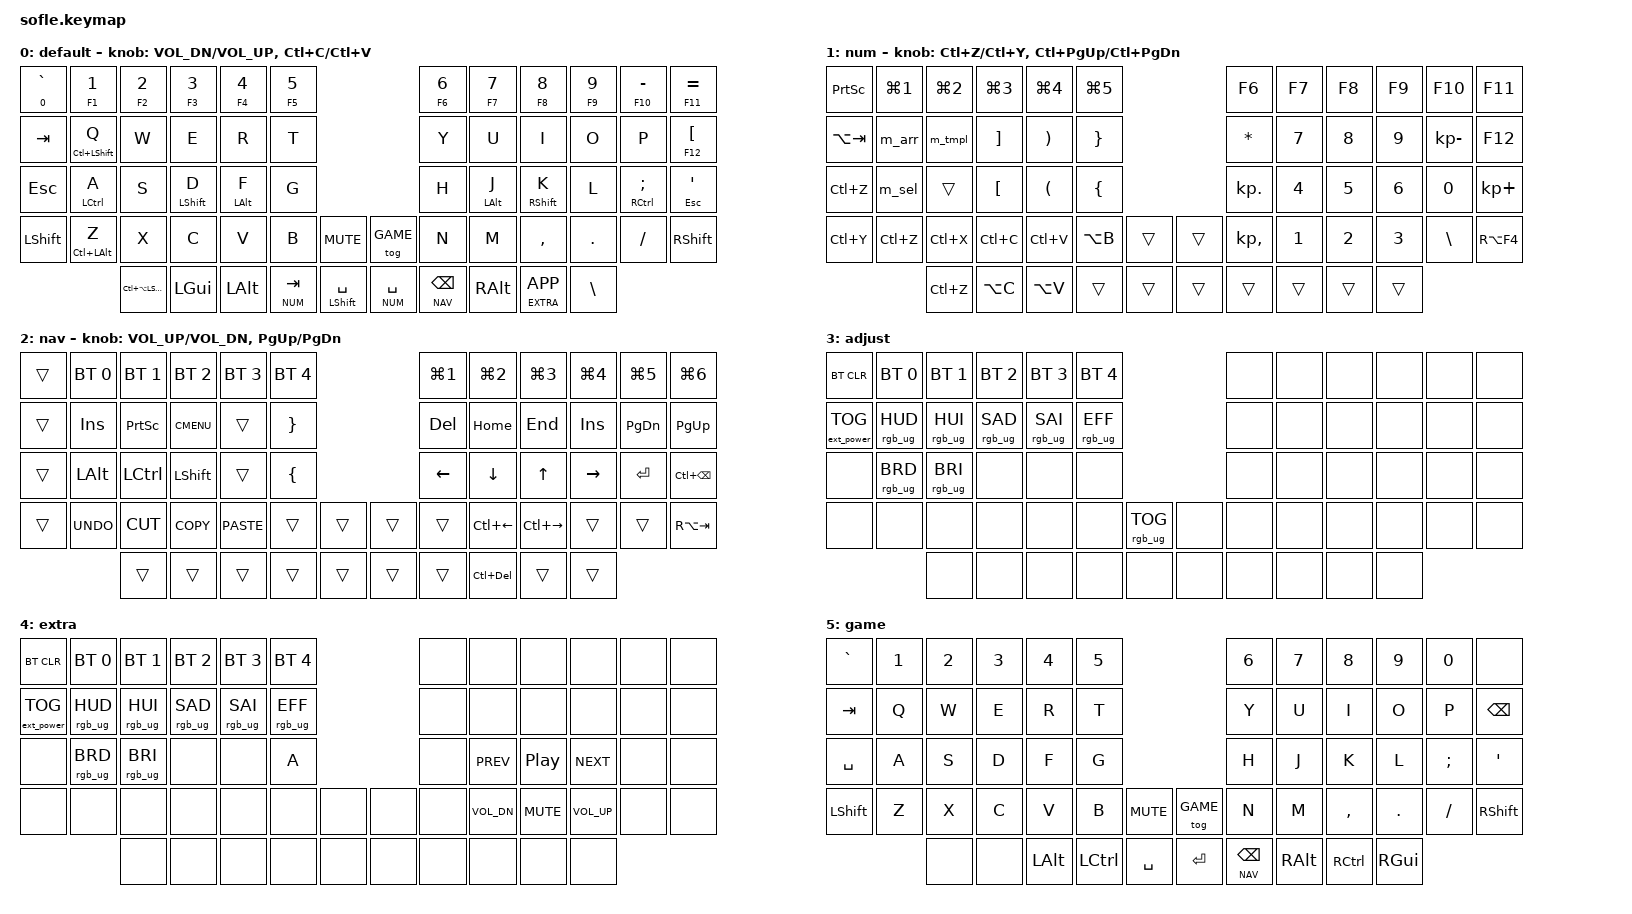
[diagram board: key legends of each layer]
/*
 * Copyright (c) 2020 The ZMK Contributors
 *
 * SPDX-License-Identifier: MIT
 */

#include <behaviors.dtsi>
#include <dt-bindings/zmk/keys.h>
#include <dt-bindings/zmk/bt.h>
#include <dt-bindings/zmk/rgb.h>
#include <dt-bindings/zmk/ext_power.h>
#include <dt-bindings/zmk/mouse.h>

#define DEFAULT 0
#define NUM 1
#define NAV 2
#define ADJUST 3
#define EXTRA 4
#define GAME 5

/ {

   // Activate ADJUST layer by pressing num and nav
    conditional_layers {
        compatible = "zmk,conditional-layers";
        adjust_layer {
            if-layers = <NUM NAV>;
            then-layer = <ADJUST>;
        };
    };

    macros {
        m_arr: m_arr {
            compatible = "zmk,behavior-macro";
            #binding-cells = <0>;
            bindings
                = <&macro_tap &kp EQUAL>,
                <&macro_press &kp LSHFT>,
                <&macro_tap &kp DOT>,
                <&macro_release &kp LSHFT>
                ;
        };

        m_tmpl: m_tmpl {
            compatible = "zmk,behavior-macro";
            #binding-cells = <0>;
            bindings
                = <&kp DOLLAR &kp LBRC &kp RBRC &kp LEFT>
                ;
        };

        m_sel: m_sel {
            compatible = "zmk,behavior-macro";
            #binding-cells = <0>;
            bindings
                = <&macro_press &kp LCTRL>,
                <&macro_tap &kp LEFT>,
                <&macro_press &kp LSHFT>,
                <&macro_tap &kp RIGHT>,
                <&macro_release &kp LSHFT>,
                <&macro_release &kp LCTRL>
                ;
        };
    };

    behaviors {
        hm: homerow_mods {
            compatible = "zmk,behavior-hold-tap";
            #binding-cells = <2>;
            tapping-term-ms = <250>;
            quick-tap-ms = <0>;
            flavor = "tap-preferred";
            require-prior-idle-ms = <150>;
            bindings = <&kp>, <&kp>;
        };

        fm: functional_mods {
            compatible = "zmk,behavior-hold-tap";
            #binding-cells = <2>;
            tapping-term-ms = <200>;
            quick-tap-ms = <0>;
            bindings = <&kp>, <&kp>;
        };
    };

    combos {
        compatible = "zmk,combos";
        combo_esc {
            timeout-ms = <50>;
            key-positions = <25 28>;
            bindings = <&kp LC(Z)>;
        };
    };

    keymap {
        compatible = "zmk,keymap";

        default_layer {
            display-name = "default";
            bindings = <
// --------------------------------------------------------------------------------------------------------------------------------------------------------------------------------------------
// |   `        |    1         |  2        |  3        |  4        |  5          |                                 |  6           |  7        |  8             |  9        |   0           |              |
    &hm N0 GRAVE     &fm F1 N1    &fm F2 N2   &fm F3 N3   &fm F4 N4   &fm F5 N5                                       &fm F6 N6      &fm F7 N7   &fm F8 N8        &fm F9 N9  &fm F10 MINUS   &fm F11 EQUAL
// |  ESC       |    Q         |  W        |  E        |  R        |  T          |                                 |  Y           |  U        |  I             |  O        |   P           | BKSPC        |
    &kp TAB      &hm LC(LSHFT) Q  &kp W       &kp E       &kp R       &kp T                                           &kp Y          &kp U       &kp I            &kp O      &kp P           &fm F12 LBKT
// |  TAB       |    A         |  S        |  D        |  F        |  G          |                                 |  H           |  J        |  K             |  L        |   ;           |   '          |
    &kp ESC        &hm LCTRL A    &kp S     &hm LSHFT D   &hm LALT F  &kp G                                           &kp H          &hm LALT J  &hm RSHFT K      &kp L      &hm RCTRL SEMI  &mt ESC SQT
// | SHIFT      |    Z         |  X        |  C        |  V        |  B          |  MUTE       |  |                |  N           |  M        |  ,             |  .        |   /           | SHIFT        |
    &kp LSHFT    &hm LC(LALT) Z   &kp X       &kp C       &kp V       &kp B         &kp C_MUTE      &tog GAME         &kp N          &kp M       &kp COMMA        &kp DOT    &kp FSLH        &kp RSHFT
//                                |  GUI   | ALT       | CTRL      |  NUM        |  ENTER      |  | SPACE          |  NAV         | CTRL      | ALT            | GUI       |
                          &kp LC(LA(LSHFT))  &kp LGUI   &kp LALT     &lt NUM TAB  &mt LSHFT SPACE    &lt NUM SPACE    &lt NAV BSPC   &kp RALT    &lt EXTRA K_APP  &kp BSLH
// --------------------------------------------------------------------------------------------------------------------------------------------------------------------------------------------
            >;

            sensor-bindings = <&inc_dec_kp C_VOL_DN C_VOL_UP &inc_dec_kp LC(C) LC(V)>;
        };

        num_layer {
            display-name = "num";
// TODO: Some binds are waiting for shifted keycode support.
// ------------------------------------------------------------------------------------------------------------
// |       |  F1 |  F2 |  F3  |  F4  |  F5  |                   |  F6  |  F7   |  F8   |  F9  |  F10  |  F11  |
// |   `   |m_arr| ${} |  ]   |  )   |  }   |                   |  6   |  7    |  8    |  9   |   0   |  F12  |
// |       | sel |  @  |  [   |  (   |  {   |                   |  ^   |  &    |  *    |  (   |   )   |   |   |
// |       |  =  |  -  |  +   |  {   |  }   |        |  |       |  [   |  ]    |  ;    |  :   |   \   |       |
//               |     |      |      |      |        |  |       |      |       |       |      |
            bindings = <
&kp PSCRN   &kp LG(N1)  &kp LG(N2) &kp LG(N3)  &kp LG(N4) &kp LG(N5)                       &kp F6        &kp F7   &kp F8  &kp F9  &kp F10       &kp F11
&kp LA(TAB) &m_arr      &m_tmpl    &kp RBKT    &kp RPAR   &kp RBRC                         &kp STAR      &kp N7   &kp N8  &kp N9  &kp KP_MINUS  &kp F12
&kp LC(Z)   &m_sel      &trans     &kp LBKT    &kp LPAR   &kp LBRC                         &kp KP_DOT    &kp N4   &kp N5  &kp N6  &kp N0        &kp KP_PLUS
&kp LC(Y)   &kp LC(Z)   &kp LC(X)  &kp LC(C)   &kp LC(V)  &kp LA(B)  &trans      &trans    &kp KP_COMMA  &kp N1   &kp N2  &kp N3  &kp BSLH      &kp RA(F4)
                        &kp LC(Z)  &kp LA(C)   &kp LA(V)  &trans     &trans      &trans    &trans        &trans   &trans  &trans
            >;

            sensor-bindings = <&inc_dec_kp LC(Z) LC(Y) &inc_dec_kp LC(PG_UP) LC(PG_DN)>;
        };

        nav_layer {
            display-name = "nav";
// ------------------------------------------------------------------------------------------------------------
// | BTCLR | BT1  | BT2  |  BT3  |  BT4  |  BT5 |                |      |      |       |      |       |       |
// |       | INS  | PSCR | GUI   |       |      |                | PGUP |      |   ^   |      |       |       |
// |       | ALT  | CTRL | SHIFT |       | CAPS |                | PGDN |   <- |   v   |  ->  |  DEL  | BKSPC |
// |       | UNDO | CUT  | COPY  | PASTE |      |      |  |      |      |      |       |      |       |       |
//                |      |       |       |      |      |  |      |      |      |       |      |
            bindings = <
&trans     &bt BT_SEL 0 &bt BT_SEL 1 &bt BT_SEL 2 &bt BT_SEL 3 &bt BT_SEL 4                      &kp LG(N1)  &kp LG(N2)    &kp LG(N3)     &kp LG(N4)  &kp LG(N5) &kp LG(N6)
&trans     &kp INS      &kp PSCRN    &kp K_CMENU  &trans       &kp RBRC                          &kp DEL     &kp HOME      &kp END        &kp INSERT  &kp PG_DN  &kp PG_UP
&trans     &kp LALT     &kp LCTRL    &kp LSHFT    &trans       &kp LBRC                          &kp LEFT    &kp DOWN      &kp UP         &kp RIGHT   &kp RET    &kp LC(BSPC)
&trans     &kp K_UNDO   &kp K_CUT    &kp K_COPY   &kp K_PASTE  &trans        &trans      &trans  &trans      &kp LC(LEFT)  &kp LC(RIGHT)  &trans      &trans     &kp RA(TAB)
                        &trans       &trans       &trans       &trans        &trans      &trans  &trans      &kp LC(DEL)   &trans         &trans
            >;

            sensor-bindings = <&inc_dec_kp C_VOL_UP C_VOL_DN &inc_dec_kp PG_UP PG_DN>;
        };

        adjust_layer {
// ----------------------------------------------------------------------------------------------------------------------------
// | BTCLR  |  BT1    |  BT2    |   BT3   |   BT4   |   BT5   |                  |      |      |       |      |       |       |
// | EXTPWR | RGB_HUD | RGB_HUI | RGB_SAD | RGB_SAI | RGB_EFF |                  |      |      |       |      |       |       |
// |        | RGB_BRD | RGB_BRI |         |         |         |                  |      |      |       |      |       |       |
// |        |         |         |         |         |         | RGB_TOG | |      |      |      |       |      |       |       |
//                    |         |         |         |         |         | |      |      |      |       |      |
            display-name = "adjust";
            bindings = <
&bt BT_CLR        &bt BT_SEL 0    &bt BT_SEL 1    &bt BT_SEL 2    &bt BT_SEL 3    &bt BT_SEL 4                            &none &none &none &none &none &none
&ext_power EP_TOG &rgb_ug RGB_HUD &rgb_ug RGB_HUI &rgb_ug RGB_SAD &rgb_ug RGB_SAI &rgb_ug RGB_EFF                         &none &none &none &none &none &none
&none             &rgb_ug RGB_BRD &rgb_ug RGB_BRI &none           &none           &none                                   &none &none &none &none &none &none
&none             &none           &none           &none           &none           &none            &rgb_ug RGB_TOG &none  &none &none &none &none &none &none
                                  &none           &none           &none           &none            &none           &none  &none &none &none &none
            >;
        };

        extra_layer {
            display-name = "extra";
            bindings = <
&bt BT_CLR        &bt BT_SEL 0    &bt BT_SEL 1    &bt BT_SEL 2    &bt BT_SEL 3    &bt BT_SEL 4                            &none   &none         &none      &none        &none &none
&ext_power EP_TOG &rgb_ug RGB_HUD &rgb_ug RGB_HUI &rgb_ug RGB_SAD &rgb_ug RGB_SAI &rgb_ug RGB_EFF                         &none   &none         &none      &none        &none &none
&none             &rgb_ug RGB_BRD &rgb_ug RGB_BRI &none           &none           &kp A                                   &none   &kp C_PREV    &kp C_PP   &kp C_NEXT   &none &none
&none             &none           &none           &none           &none           &none            &none           &none  &none   &kp C_VOL_DN  &kp C_MUTE &kp C_VOL_UP &none &none
                                  &none           &none           &none           &none            &none           &none  &none   &none         &none      &none
            >;
        };

        game_layer {
            display-name = "game";
            bindings = <
&kp GRAVE &kp N1 &kp N2   &kp N3   &kp N4    &kp N5                                 &kp N6       &kp N7    &kp N8    &kp N9   &kp N0   &none
&kp TAB   &kp Q  &kp W    &kp E    &kp R     &kp T                                  &kp Y        &kp U     &kp I     &kp O    &kp P    &kp BSPC
&kp SPACE &kp A  &kp S    &kp D    &kp F     &kp G                                  &kp H        &kp J     &kp K     &kp L    &kp SEMI &kp SQT
&kp LSHFT &kp Z  &kp X    &kp C    &kp V     &kp B       &kp C_MUTE      &tog GAME  &kp N        &kp M     &kp COMMA &kp DOT  &kp FSLH &kp RSHFT
                 &none    &none    &kp LALT  &kp LCTRL   &kp SPACE       &kp RET    &lt NAV BSPC   &kp RALT  &kp RCTRL &kp RGUI
            >;
        };

    };
};
